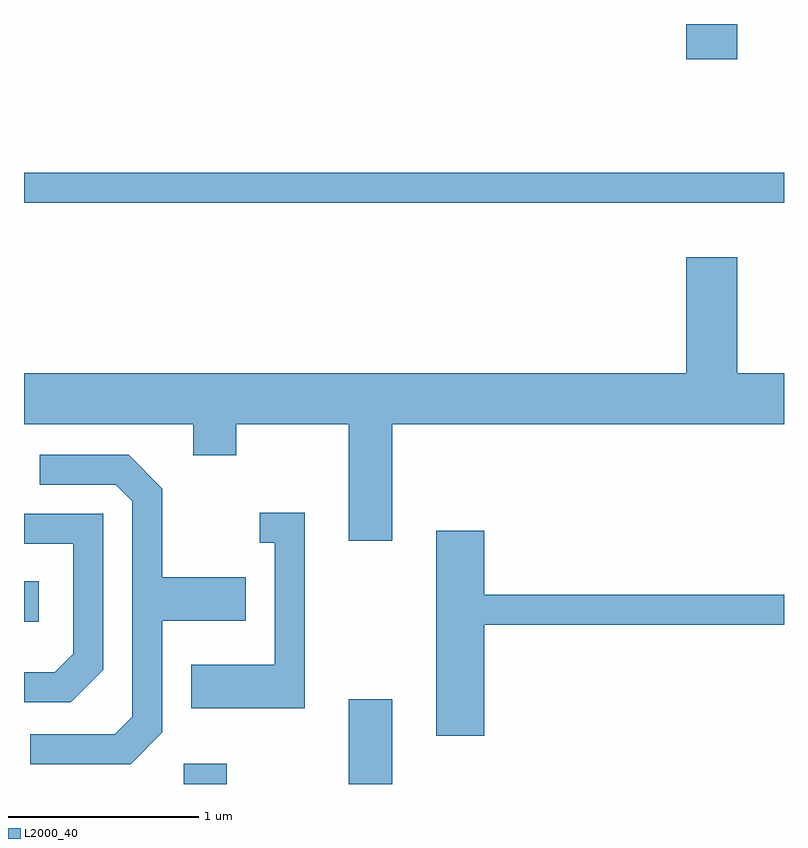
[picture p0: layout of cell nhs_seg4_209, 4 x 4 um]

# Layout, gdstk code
import gdstk
lib = gdstk.Library(unit=1e-6, precision=1e-09)
def R(c, l, rs):  # rectangles x0, y0, x1, y1
    for r in rs: c.add(gdstk.rectangle(r[:2], r[2:], *l))
def P(c, l, *ps):  # polygons
    for p in ps: c.add(gdstk.Polygon(p, *l))
L2000_40 = (2000, 40)

nhs_seg4_209 = lib.new_cell('nhs_seg4_209')
R(nhs_seg4_209, L2000_40, [(192.451,1263.982,192.679,1264.089), (193.321,1263.982,193.549,1264.429), (191.611,1264.836,191.689,1265.049), (191.611,1267.041,195.611,1267.199), (195.096,1267.796,195.364,1267.982)])
P(nhs_seg4_209, L2000_40, [(193.549,1265.876),(195.611,1265.876),(195.611,1266.144),(195.364,1266.144),(195.364,1266.754),(195.096,1266.754),(195.096,1266.144),(191.611,1266.144),(191.611,1265.876),(192.501,1265.876),(192.501,1265.711),(192.729,1265.711),(192.729,1265.876),(193.321,1265.876),(193.321,1265.261),(193.549,1265.261)],
  [(192.339,1264.254),(192.339,1264.841),(192.779,1264.841),(192.779,1265.069),(192.339,1265.069),(192.339,1265.537),(192.162,1265.714),(191.693,1265.714),(191.693,1265.556),(192.094,1265.556),(192.181,1265.469),(192.181,1264.337),(192.089,1264.244),(191.643,1264.244),(191.643,1264.086),(192.172,1264.086)],
  [(193.089,1265.409),(192.853,1265.409),(192.853,1265.251),(192.931,1265.251),(192.931,1264.609),(192.491,1264.609),(192.491,1264.381),(193.089,1264.381)],
  [(192.029,1264.584),(192.029,1265.404),(191.611,1265.404),(191.611,1265.246),(191.871,1265.246),(191.871,1264.667),(191.774,1264.569),(191.611,1264.569),(191.611,1264.411),(191.857,1264.411)],
  [(194.034,1264.821),(195.611,1264.821),(195.611,1264.979),(194.034,1264.979),(194.034,1265.314),(193.781,1265.314),(193.781,1264.236),(194.034,1264.236)])

lib.write_gds('nhs_seg4_209.gds')
